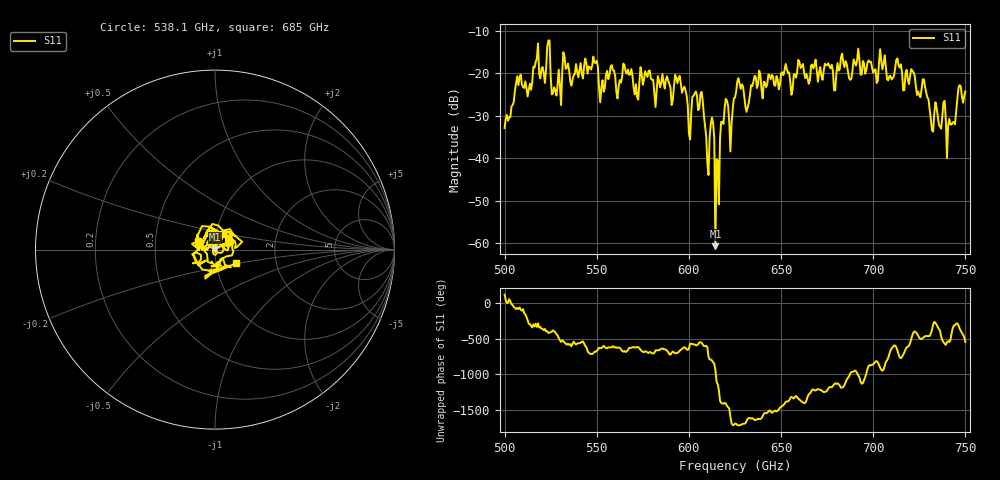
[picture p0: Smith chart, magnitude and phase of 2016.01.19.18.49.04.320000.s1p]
!Created with skrf (http://scikit-rf.org).
# GHz S RI R 50.0
!freq ReS11 ImS11
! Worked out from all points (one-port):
!   401 points, 500 GHz to 750 GHz, reference 50 ohm
!   lowest |S11| = -60.6 dB at 614.4 GHz (marker M1), VSWR 1.00, Z = 49.9 + j0.0629 ohm
!   |S11| at or under -10 dB: start of sweep to end of sweep
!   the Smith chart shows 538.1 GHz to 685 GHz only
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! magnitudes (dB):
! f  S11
! 500 GHz  -32.9
! 507.5 GHz  -22.8
! 513.8 GHz  -22.4
! 516.9 GHz  -17.3
! 520.6 GHz  -18.5
! 523.8 GHz  -12.3
! 526.9 GHz  -23.3
! 531.2 GHz  -19.9
! 548.8 GHz  -17.5
! 552.5 GHz  -23.3
! 558.1 GHz  -18.0
! 562.5 GHz  -21.6
! 593.8 GHz  -22.3
! 600 GHz  -34.1
! 606.9 GHz  -24.4
! 610 GHz  -41.1
! 612.5 GHz  -30.4
! 614.4 GHz  -60.6
! 615.6 GHz  -40.6
! 618.8 GHz  -31.9
! 623.1 GHz  -31.9
! 625 GHz  -25.7
! 656.2 GHz  -23.8
! 660.6 GHz  -18.7
! 687.5 GHz  -21.5
! 718.8 GHz  -21.5
! 741.2 GHz  -30.7
! 750 GHz  -24.2
